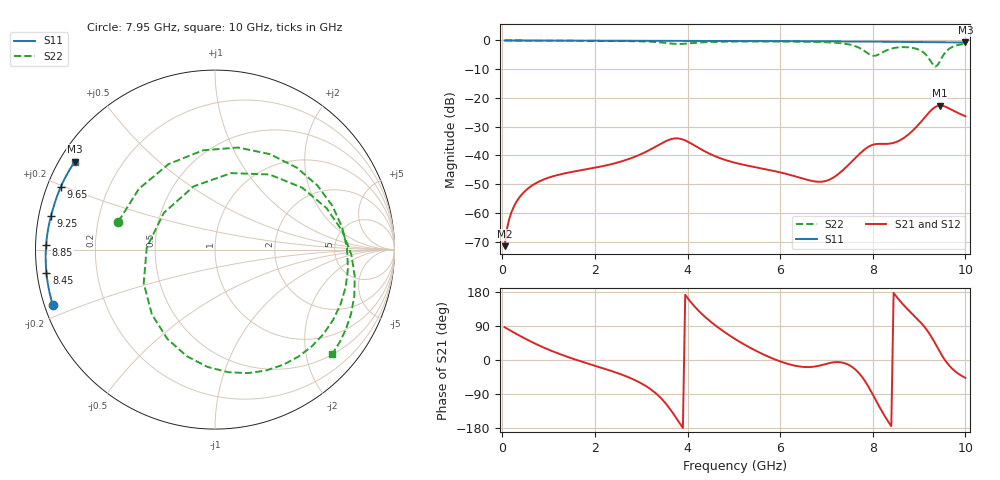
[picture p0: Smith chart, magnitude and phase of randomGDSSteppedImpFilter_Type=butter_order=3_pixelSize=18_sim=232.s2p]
! freq	dB(S11)	phase(S11)	dB(S12)	phase(S12)
!  dB(S21)	phase(S21)	dB(S22)	phase(S22)
!S-par simulation data
#  GHz  S  DB  R 50
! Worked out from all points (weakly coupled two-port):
!   200 points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, 50 MHz to 10 GHz, reference 50 ohm
!   highest |S21| = -22.64 dB at 9.45 GHz (marker M1); lowest = -71.6 dB at 50 MHz (marker M2)
!   lowest |S11| = -0.7 dB at 10 GHz (marker M3), VSWR 24.66, Z = 2.2 + j14.4 ohm
!   |S11| at or under -10 dB: nowhere
!   |S22| runs from -9.1 to 0.0 dB; largest |S21 - S12| = 0
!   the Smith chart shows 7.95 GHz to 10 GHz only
!   S11 on the Smith chart (normalised r, x): 7.95 GHz: 0.02, -0.17; 8.45 GHz: 0.03, -0.07; 8.85 GHz: 0.03, +0.01; 9.25 GHz: 0.04, +0.10; 9.65 GHz: 0.04, +0.19; 10 GHz: 0.04, +0.29
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0.05  -0.00 -1.1  -71.57 86.4  -71.57 86.4  -0.00 -6.0
0.3  -0.01 -6.5  -56.29 69.0  -56.29 69.0  -0.05 -35.4
0.8  -0.02 -17.3  -49.03 38.1  -49.03 38.1  -0.10 -87.6
1.75  -0.05 -37.5  -45.01 -5.6  -45.01 -5.6  -0.14 -161.4
2.65  -0.07 -56.1  -41.69 -41.8  -41.69 -41.8  -0.21 137.4
3.4  -0.10 -71.3  -36.16 -97.4  -36.16 -97.4  -0.65 50.4
3.65  -0.11 -76.2  -34.32 -134.1  -34.32 -134.1  -1.09 -10.9
3.9  -0.11 -81.1  -34.47 -179.4  -34.47 -179.4  -1.19 -89.3
4.3  -0.13 -88.9  -37.94 122.6  -37.94 122.6  -0.68 -176.3
5.05  -0.16 -103.4  -42.66 53.6  -42.66 53.6  -0.38 109.8
5.8  -0.20 -117.9  -45.18 5.9  -45.18 5.9  -0.35 59.9
6.7  -0.27 -135.4  -48.91 -18.0  -48.91 -18.0  -0.48 0.8
7.55  -0.35 -152.6  -42.10 -18.0  -42.10 -18.0  -1.63 -83.7
7.95  -0.40 -161.1  -36.61 -79.8  -36.61 -79.8  -5.03 163.8
8.15  -0.42 -165.4  -35.97 -125.1  -35.97 -125.1  -4.68 77.3
8.35  -0.45 -169.9  -35.93 -165.7  -35.93 -165.7  -3.12 20.3
8.45  -0.46 -172.2  -35.62 176.9  -35.62 176.9  -2.67 0.6
8.85  -0.53 178.4  -31.57 122.0  -31.57 122.0  -2.55 -59.4
9.25  -0.61 168.5  -24.46 64.3  -24.46 64.3  -7.15 -154.8
9.45  -0.64 163.4  -22.64 21.1  -22.64 21.1  -7.21 78.0
9.65  -0.65 158.0  -23.67 -14.6  -23.67 -14.6  -2.88 8.1
10  -0.70 147.8  -26.35 -47.3  -26.35 -47.3  -1.16 -41.6
